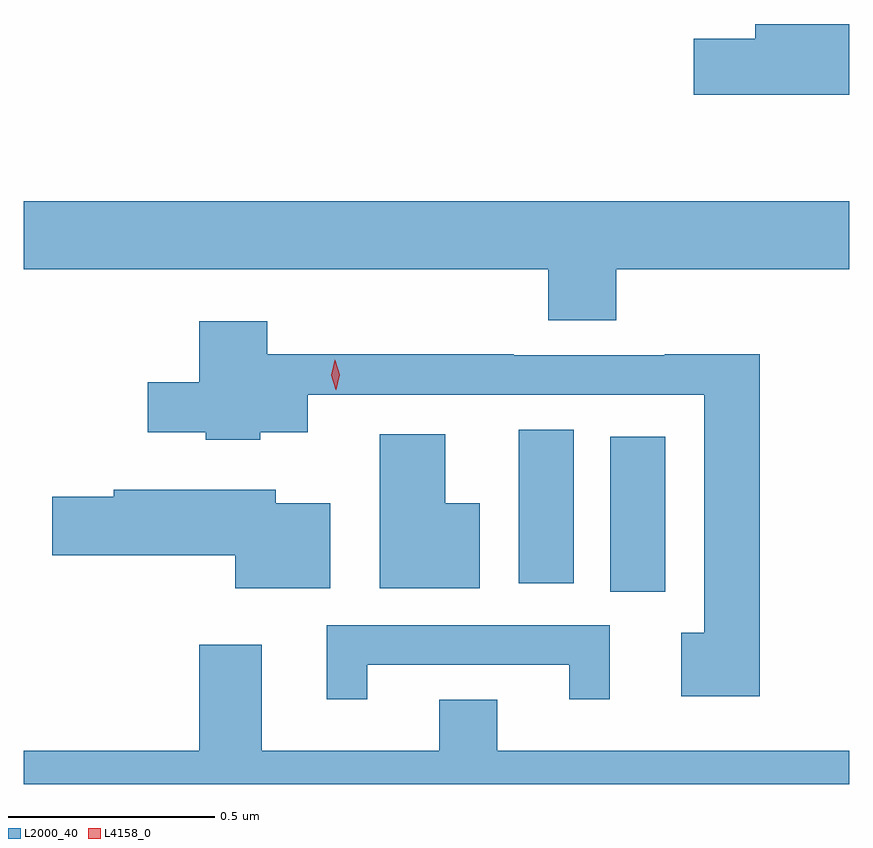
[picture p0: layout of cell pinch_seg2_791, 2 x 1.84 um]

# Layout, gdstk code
import gdstk
lib = gdstk.Library(unit=1e-6, precision=1e-09)
def R(c, l, rs):  # rectangles x0, y0, x1, y1
    for r in rs: c.add(gdstk.rectangle(r[:2], r[2:], *l))
def P(c, l, *ps):  # polygons
    for p in ps: c.add(gdstk.Polygon(p, *l))
L2000_40 = (2000, 40)
L4158_0 = (4158, 0)

pinch_seg2_791 = lib.new_cell('pinch_seg2_791')
R(pinch_seg2_791, L2000_40, [(654.644,641.526,654.778,641.902), (654.422,641.547,654.556,641.918)])
P(pinch_seg2_791, L2000_40, [(655.223,642.902),(654.995,642.902),(654.995,642.866),(654.846,642.866),(654.846,642.731),(655.223,642.731)],
  [(654.659,642.308),(655.223,642.308),(655.223,642.472),(653.223,642.472),(653.223,642.308),(654.494,642.308),(654.494,642.184),(654.659,642.184)],
  [(655.007,642.101),(654.776,642.101),(654.776,642.099),(654.41,642.099),(654.41,642.101),(653.813,642.101),(653.813,642.181),(653.648,642.181),(653.648,642.034),(653.523,642.034),(653.523,641.912),(653.664,641.912),(653.664,641.894),(653.796,641.894),(653.796,641.912),(653.911,641.912),(653.911,642.003),(654.872,642.003),(654.872,641.426),(654.816,641.426),(654.816,641.273),(655.007,641.273)],
  [(654.328,641.74),(654.244,641.74),(654.244,641.908),(654.086,641.908),(654.086,641.534),(654.328,641.534)],
  [(653.965,641.74),(653.833,641.74),(653.833,641.773),(653.441,641.773),(653.441,641.756),(653.292,641.756),(653.292,641.614),(653.735,641.614),(653.735,641.534),(653.965,641.534)],
  [(654.055,641.349),(654.545,641.349),(654.545,641.265),(654.643,641.265),(654.643,641.445),(653.957,641.445),(653.957,641.265),(654.055,641.265)],
  [(655.223,641.14),(654.37,641.14),(654.37,641.264),(654.23,641.264),(654.23,641.14),(653.8,641.14),(653.8,641.398),(653.648,641.398),(653.648,641.14),(653.223,641.14),(653.223,641.06),(655.223,641.06)])
P(pinch_seg2_791, L4158_0, [(653.979,642.016),(653.979,642.016),(653.968,642.051),(653.976,642.087),(653.976,642.088),(653.977,642.087),(653.988,642.052),(653.98,642.016)])

lib.write_gds('pinch_seg2_791.gds')
